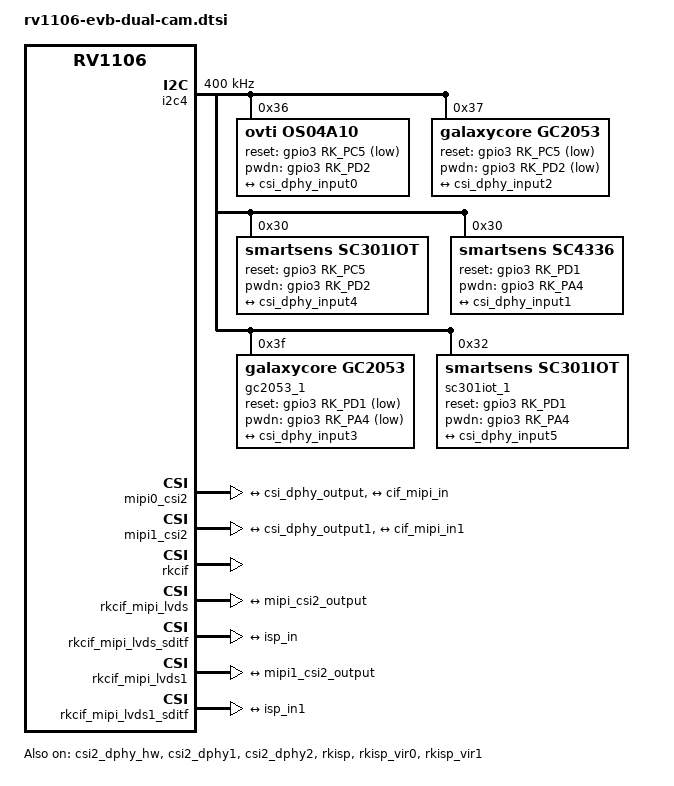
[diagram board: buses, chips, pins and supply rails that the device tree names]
// SPDX-License-Identifier: (GPL-2.0+ OR MIT)
/*
 * Copyright (c) 2023 Rockchip Electronics Co., Ltd.
 *
 * Version  Sensor  I2C_ADDR   Lanes
 * v1.0.0   os04a10   0x36    lane0~1(dphy1)
 *          sc4336    0x30    lane2~3(dphy2)
 * v1.1.0   gc2053    0x37    lane0~1(dphy1)
 *          gc2053    0x3f    lane2~3(dphy2)
 * v1.2.0   sc301iot  0x30    lane0~1(dphy1)
 *          sc301iot  0x32    lane2~3(dphy2)
 */

&csi2_dphy_hw {
	status = "okay";
};

&csi2_dphy1 {
	status = "okay";

	ports {
		#address-cells = <1>;
		#size-cells = <0>;

		port@0 {
			reg = <0>;
			#address-cells = <1>;
			#size-cells = <0>;

			csi_dphy_input0: endpoint@1 {
				reg = <1>;
				remote-endpoint = <&os04a10_out>;
				data-lanes = <1 2>;
			};

			csi_dphy_input2: endpoint@2 {
				reg = <2>;
				remote-endpoint = <&gc2053_out>;
				data-lanes = <1 2>;
			};

			csi_dphy_input4: endpoint@3 {
				reg = <3>;
				remote-endpoint = <&sc301iot_out>;
				data-lanes = <1 2>;
			};
		};

		port@1 {
			reg = <1>;
			#address-cells = <1>;
			#size-cells = <0>;

			csi_dphy_output: endpoint@0 {
				reg = <0>;
				remote-endpoint = <&mipi_csi2_input>;
			};
		};
	};
};

&csi2_dphy2 {
	status = "okay";

	ports {
		#address-cells = <1>;
		#size-cells = <0>;

		port@0 {
			reg = <0>;
			#address-cells = <1>;
			#size-cells = <0>;

			csi_dphy_input1: endpoint@1 {
				reg = <1>;
				remote-endpoint = <&sc3336_out>;
				data-lanes = <1 2>;
			};

			csi_dphy_input3: endpoint@2 {
				reg = <2>;
				remote-endpoint = <&gc2053_1_out>;
				data-lanes = <1 2>;
			};

			csi_dphy_input5: endpoint@3 {
				reg = <3>;
				remote-endpoint = <&sc301iot_1_out>;
				data-lanes = <1 2>;
			};
		};

		port@1 {
			reg = <1>;
			#address-cells = <1>;
			#size-cells = <0>;

			csi_dphy_output1: endpoint@0 {
				reg = <0>;
				remote-endpoint = <&mipi1_csi2_input>;
			};
		};
	};
};

&i2c4 {
	status = "okay";
	clock-frequency = <400000>;
	pinctrl-names = "default";
	pinctrl-0 = <&i2c4m2_xfer>;

	os04a10: os04a10@36 {
		compatible = "ovti,os04a10";
		status = "okay";
		reg = <0x36>;
		clocks = <&cru MCLK_REF_MIPI0>;
		clock-names = "xvclk";
		reset-gpios = <&gpio3 RK_PC5 GPIO_ACTIVE_LOW>;
		pwdn-gpios = <&gpio3 RK_PD2 GPIO_ACTIVE_HIGH>;
		pinctrl-names = "default";
		pinctrl-0 = <&mipi_refclk_out0>;
		rockchip,camera-module-index = <0>;
		rockchip,camera-module-facing = "back";
		rockchip,camera-module-name = "CMK-OT1607-PV1";
		rockchip,camera-module-lens-name = "50IRC-F16";
		port {
			os04a10_out: endpoint {
				remote-endpoint = <&csi_dphy_input0>;
				data-lanes = <1 2>;
			};
		};
	};

	gc2053: gc2053@37 {
		compatible = "galaxycore,gc2053";
		status = "okay";
		reg = <0x37>;
		clocks = <&cru MCLK_REF_MIPI0>;
		clock-names = "xvclk";
		reset-gpios = <&gpio3 RK_PC5 GPIO_ACTIVE_LOW>;
		pwdn-gpios = <&gpio3 RK_PD2 GPIO_ACTIVE_LOW>;
		pinctrl-names = "default";
		pinctrl-0 = <&mipi_refclk_out0>;
		rockchip,camera-module-index = <0>;
		rockchip,camera-module-facing = "back";
		rockchip,camera-module-name = "CMK-OT2274-V10";
		rockchip,camera-module-lens-name = "28IRC-F20";
		port {
			gc2053_out: endpoint {
				remote-endpoint = <&csi_dphy_input2>;
				data-lanes = <1 2>;
			};
		};
	};

	sc301iot: sc301iot@30 {
		compatible = "smartsens,sc301iot";
		status = "okay";
		reg = <0x30>;
		clocks = <&cru MCLK_REF_MIPI0>;
		clock-names = "xvclk";
		reset-gpios = <&gpio3 RK_PC5 GPIO_ACTIVE_HIGH>;
		pwdn-gpios = <&gpio3 RK_PD2 GPIO_ACTIVE_HIGH>;
		pinctrl-names = "default";
		pinctrl-0 = <&mipi_refclk_out0>;
		rockchip,camera-module-index = <0>;
		rockchip,camera-module-facing = "back";
		rockchip,camera-module-name = "CMK-OT2349-PC1";
		rockchip,camera-module-lens-name = "65IRC-F20";
		port {
			sc301iot_out: endpoint {
				remote-endpoint = <&csi_dphy_input4>;
				data-lanes = <1 2>;
			};
		};
	};

	sc4336: sc4336@30 {
		compatible = "smartsens,sc4336";
		status = "okay";
		reg = <0x30>;
		clocks = <&cru MCLK_REF_MIPI1>;
		clock-names = "xvclk";
		reset-gpios = <&gpio3 RK_PD1 GPIO_ACTIVE_HIGH>;
		pwdn-gpios = <&gpio3 RK_PA4 GPIO_ACTIVE_HIGH>;
		pinctrl-names = "default";
		pinctrl-0 = <&mipi_refclk_out1>;
		rockchip,camera-module-index = <1>;
		rockchip,camera-module-facing = "back";
		rockchip,camera-module-name = "OT01";
		rockchip,camera-module-lens-name = "40IRC_F16";
		port {
			sc3336_out: endpoint {
				remote-endpoint = <&csi_dphy_input1>;
				data-lanes = <1 2>;
			};
		};
	};

	gc2053_1: gc2053_1@3f {
		compatible = "galaxycore,gc2053";
		status = "okay";
		reg = <0x3f>;
		clocks = <&cru MCLK_REF_MIPI1>;
		clock-names = "xvclk";
		reset-gpios = <&gpio3 RK_PD1 GPIO_ACTIVE_LOW>;
		pwdn-gpios = <&gpio3 RK_PA4 GPIO_ACTIVE_LOW>;
		pinctrl-names = "default";
		pinctrl-0 = <&mipi_refclk_out1>;
		rockchip,camera-module-index = <1>;
		rockchip,camera-module-facing = "back";
		rockchip,camera-module-name = "CMK-OT2274-V10";
		rockchip,camera-module-lens-name = "28IRC-F20";
		port {
			gc2053_1_out: endpoint {
				remote-endpoint = <&csi_dphy_input3>;
				data-lanes = <1 2>;
			};
		};
	};

	sc301iot_1: sc301iot_1@32 {
		compatible = "smartsens,sc301iot";
		status = "okay";
		reg = <0x32>;
		clocks = <&cru MCLK_REF_MIPI1>;
		clock-names = "xvclk";
		reset-gpios = <&gpio3 RK_PD1 GPIO_ACTIVE_HIGH>;
		pwdn-gpios = <&gpio3 RK_PA4 GPIO_ACTIVE_HIGH>;
		pinctrl-names = "default";
		pinctrl-0 = <&mipi_refclk_out1>;
		rockchip,camera-module-index = <1>;
		rockchip,camera-module-facing = "back";
		rockchip,camera-module-name = "CMK-OT2349-PC1";
		rockchip,camera-module-lens-name = "65IRC-F20";
		port {
			sc301iot_1_out: endpoint {
				remote-endpoint = <&csi_dphy_input5>;
				data-lanes = <1 2>;
			};
		};
	};
};

&mipi0_csi2 {
	status = "okay";

	ports {
		#address-cells = <1>;
		#size-cells = <0>;

		port@0 {
			reg = <0>;
			#address-cells = <1>;
			#size-cells = <0>;

			mipi_csi2_input: endpoint@1 {
				reg = <1>;
				remote-endpoint = <&csi_dphy_output>;
			};
		};

		port@1 {
			reg = <1>;
			#address-cells = <1>;
			#size-cells = <0>;

			mipi_csi2_output: endpoint@0 {
				reg = <0>;
				remote-endpoint = <&cif_mipi_in>;
			};
		};
	};
};

&mipi1_csi2 {
	status = "okay";

	ports {
		#address-cells = <1>;
		#size-cells = <0>;

		port@0 {
			reg = <0>;
			#address-cells = <1>;
			#size-cells = <0>;

			mipi1_csi2_input: endpoint@1 {
				reg = <1>;
				remote-endpoint = <&csi_dphy_output1>;
			};
		};

		port@1 {
			reg = <1>;
			#address-cells = <1>;
			#size-cells = <0>;

			mipi1_csi2_output: endpoint@0 {
				reg = <0>;
				remote-endpoint = <&cif_mipi_in1>;
			};
		};
	};
};

&rkcif {
	status = "okay";
	pinctrl-names = "default";
	pinctrl-0 = <&mipi_pins>;
};

&rkcif_mipi_lvds {
	status = "okay";

	port {
		/* MIPI CSI-2 endpoint */
		cif_mipi_in: endpoint {
			remote-endpoint = <&mipi_csi2_output>;
		};
	};
};

&rkcif_mipi_lvds_sditf {
	status = "okay";

	port {
		/* MIPI CSI-2 endpoint */
		mipi_lvds_sditf: endpoint {
			remote-endpoint = <&isp_in>;
		};
	};
};

&rkcif_mipi_lvds1 {
	status = "okay";

	port {
		/* MIPI CSI-2 endpoint */
		cif_mipi_in1: endpoint {
			remote-endpoint = <&mipi1_csi2_output>;
		};
	};
};

&rkcif_mipi_lvds1_sditf {
	status = "okay";

	port {
		/* MIPI CSI-2 endpoint */
		mipi_lvds1_sditf: endpoint {
			remote-endpoint = <&isp_in1>;
		};
	};
};

&rkisp {
	status = "okay";
};

&rkisp_vir0 {
	status = "okay";

	port@0 {
		isp_in: endpoint {
			remote-endpoint = <&mipi_lvds_sditf>;
		};
	};
};

&rkisp_vir1 {
	status = "okay";

	port@0 {
		isp_in1: endpoint {
			remote-endpoint = <&mipi_lvds1_sditf>;
		};
	};
};
